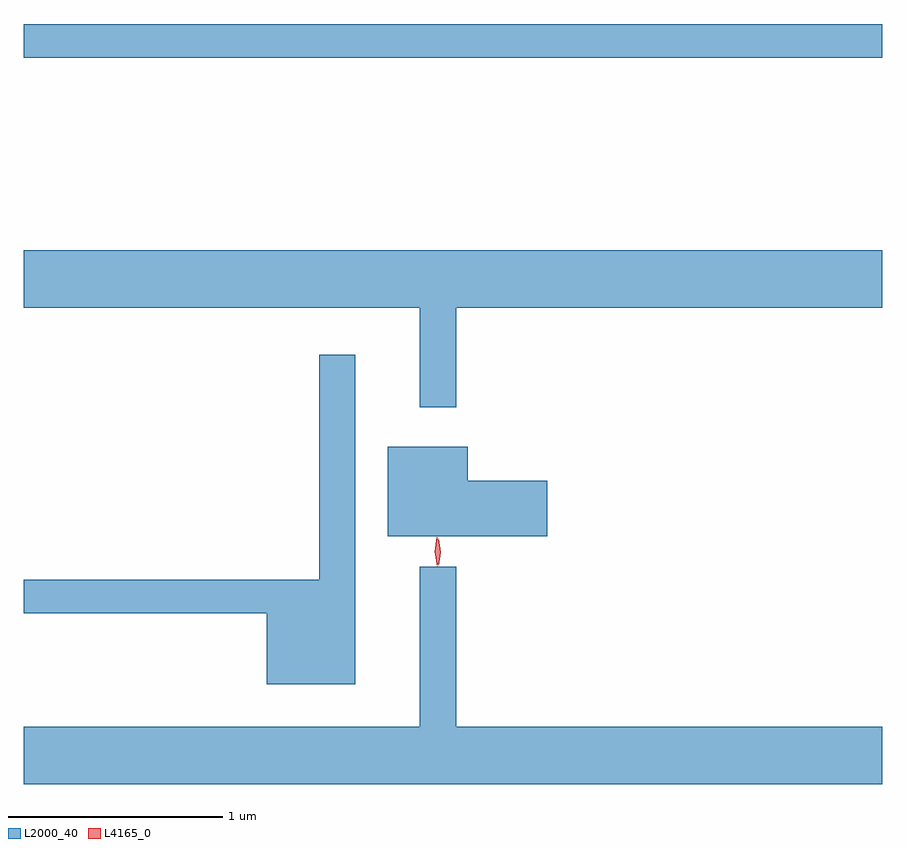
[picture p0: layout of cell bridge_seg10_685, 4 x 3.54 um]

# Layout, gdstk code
import gdstk
lib = gdstk.Library(unit=1e-6, precision=1e-09)
def R(c, l, rs):  # rectangles x0, y0, x1, y1
    for r in rs: c.add(gdstk.rectangle(r[:2], r[2:], *l))
def P(c, l, *ps):  # polygons
    for p in ps: c.add(gdstk.Polygon(p, *l))
L2000_40 = (2000, 40)
L4165_0 = (4165, 0)

bridge_seg10_685 = lib.new_cell('bridge_seg10_685')
R(bridge_seg10_685, L2000_40, [(949.725,2148.381,953.725,2148.539)])
P(bridge_seg10_685, L2000_40, [(951.739,2147.216),(953.725,2147.216),(953.725,2147.484),(949.725,2147.484),(949.725,2147.216),(951.571,2147.216),(951.571,2146.753),(951.739,2146.753)],
  [(951.269,2146.998),(951.101,2146.998),(951.101,2145.949),(949.725,2145.949),(949.725,2145.791),(950.856,2145.791),(950.856,2145.461),(951.269,2145.461)],
  [(952.164,2146.409),(951.794,2146.409),(951.794,2146.569),(951.421,2146.569),(951.421,2146.151),(952.164,2146.151)],
  [(953.725,2145.264),(951.739,2145.264),(951.739,2146.008),(951.571,2146.008),(951.571,2145.264),(949.725,2145.264),(949.725,2144.996),(953.725,2144.996)])
P(bridge_seg10_685, L4165_0, [(951.651,2146.01),(951.641,2146.078),(951.65,2146.146),(951.65,2146.146),(951.651,2146.146),(951.661,2146.078),(951.652,2146.01),(951.652,2146.01)],
  [(951.658,2146.013),(951.658,2146.014),(951.648,2146.076),(951.658,2146.14),(951.658,2146.14),(951.659,2146.14),(951.668,2146.076),(951.659,2146.014)])

lib.write_gds('bridge_seg10_685.gds')
